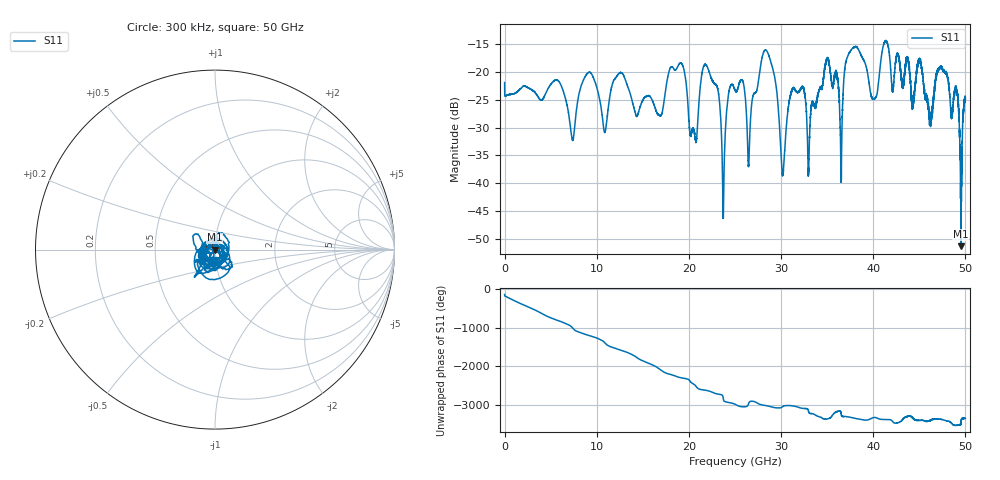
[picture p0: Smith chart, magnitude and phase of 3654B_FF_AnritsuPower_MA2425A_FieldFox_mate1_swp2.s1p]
!Created with skrf (http://scikit-rf.org).
# Hz S RI R 50.0
!freq ReS11 ImS11
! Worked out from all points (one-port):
!   10001 points, 300 kHz to 50 GHz, reference 50 ohm
!   lowest |S11| = -51.3 dB at 49.52 GHz (marker M1), VSWR 1.01, Z = 49.7 + j0.0014 ohm
!   |S11| at or under -10 dB: start of sweep to end of sweep
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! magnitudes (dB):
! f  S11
! 300 kHz  -21.9
! 6.25 GHz  -22.9
! 7.385 GHz  -32.3
! 9.335 GHz  -20.2
! 10.88 GHz  -30.9
! 12.5 GHz  -20.2
! 16.83 GHz  -27.8
! 18.75 GHz  -19.2
! 20.66 GHz  -31.6
! 22.02 GHz  -19.2
! 23.16 GHz  -23.3
! 23.74 GHz  -46.2
! 25 GHz  -23.3
! 26.5 GHz  -36.5
! 28.49 GHz  -16.3
! 30.19 GHz  -38.2
! 31.25 GHz  -22.9
! 33 GHz  -37.2
! 35.04 GHz  -17.4
! 36.5 GHz  -39.1
! 37.5 GHz  -16.3
! 40.04 GHz  -24.9
! 41.29 GHz  -14.5
! 43.75 GHz  -17.5
! 46.19 GHz  -28.5
! 47.82 GHz  -20.1
! 49.52 GHz  -51.3
! 50 GHz  -24.9
